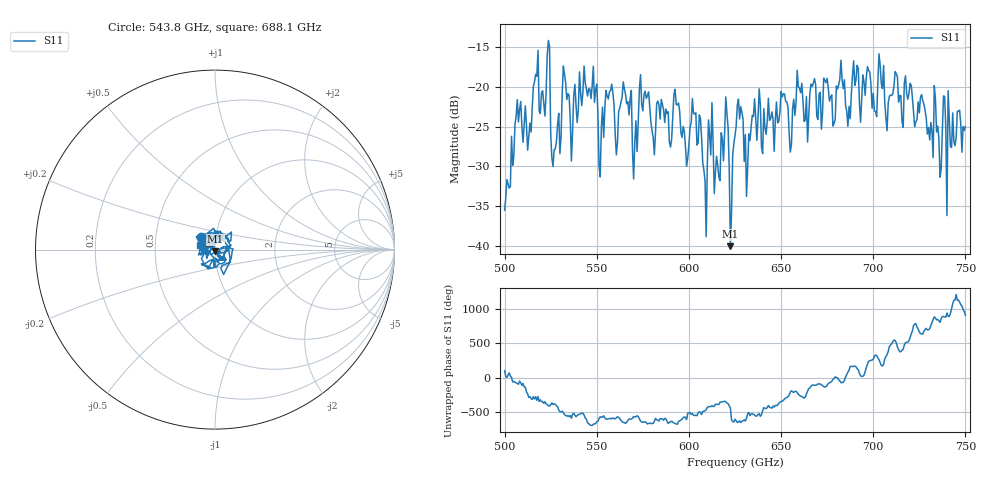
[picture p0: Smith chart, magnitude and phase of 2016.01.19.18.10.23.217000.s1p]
!Created with skrf (http://scikit-rf.org).
# GHz S RI R 50.0
!freq ReS11 ImS11
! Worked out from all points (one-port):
!   401 points, 500 GHz to 750 GHz, reference 50 ohm
!   lowest |S11| = -40.0 dB at 622.5 GHz (marker M1), VSWR 1.02, Z = 50.2 - j0.987 ohm
!   |S11| at or under -10 dB: start of sweep to end of sweep
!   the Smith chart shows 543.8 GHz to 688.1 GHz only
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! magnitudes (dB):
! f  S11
! 500 GHz  -35.5
! 506.9 GHz  -21.6
! 513.1 GHz  -26.2
! 516.9 GHz  -18.5
! 523.8 GHz  -14.2
! 526.9 GHz  -27.9
! 531.2 GHz  -20.8
! 548.8 GHz  -22.0
! 552.5 GHz  -25.1
! 562.5 GHz  -22.7
! 570.6 GHz  -27.1
! 574.4 GHz  -22.3
! 580.6 GHz  -26.4
! 593.8 GHz  -22.3
! 598.8 GHz  -30.0
! 602.5 GHz  -23.3
! 608.8 GHz  -31.8
! 611.9 GHz  -28.6
! 615 GHz  -28.7
! 620 GHz  -21.3
! 622.5 GHz  -40.0
! 625 GHz  -26.1
! 656.2 GHz  -22.7
! 660 GHz  -20.2
! 687.5 GHz  -24.0
! 718.8 GHz  -21.6
! 735.6 GHz  -26.6
! 750 GHz  -25.0
